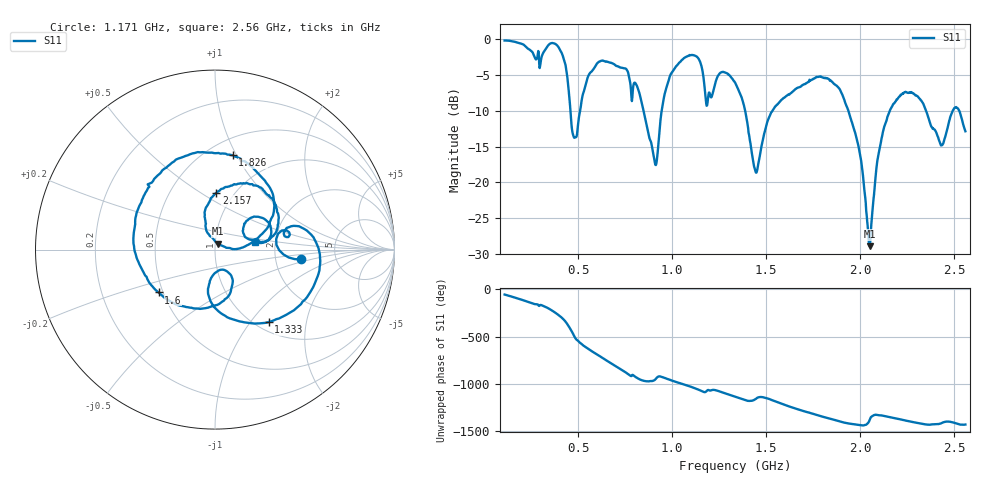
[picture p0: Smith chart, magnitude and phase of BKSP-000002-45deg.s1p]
# MHz S MA R 50
!  freq  S11
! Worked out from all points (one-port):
!   1000 points, 108 MHz to 2.56 GHz, reference 50 ohm
!   lowest |S11| = -28.9 dB at 2.052 GHz (marker M1), VSWR 1.07, Z = 51.3 + j3.39 ohm
!   |S11| at or under -10 dB: 1.388 GHz to 1.533 GHz (144.8 MHz wide, 9.91 % of centre); 1.937 GHz to 2.158 GHz (220.2 MHz wide, 10.8 % of centre); 2.351 GHz to 2.492 GHz (141.6 MHz wide, 5.85 % of centre)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
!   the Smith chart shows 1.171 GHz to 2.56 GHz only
!   S11 on the Smith chart (normalised r, x): 1.171 GHz: 2.80, -0.39; 1.333 GHz: 1.14, -1.23; 1.6 GHz: 0.47, -0.27; 1.826 GHz: 0.66, +0.96; 2.157 GHz: 0.83, +0.58; 2.56 GHz: 1.57, +0.14
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108  0.9821 -56.0
196.3604  0.9332 -109.3
331.3554  0.8758 168.1
380.4444  0.9255 108.6
414.8068  0.7861 54.6
456.5325  0.3417 -56.2
515.4394  0.3551 145.5
569.4374  0.5929 67.7
630.7988  0.7105 -8.5
677.4334  0.6839 -66.2
721.6136  0.639 -119.7
819.7918  0.4435 135.4
910.6066  0.1325 128.6
1028.42  0.6644 95.5
1126.599  0.7621 30.4
1170.779  0.4819 -6.5
1229.686  0.4985 14.2
1332.773  0.5024 -53.5
1335.227  0.4968 -55.1
1445.678  0.117 -77.2
1600.308  0.3947 -142.7
1642.034  0.4321 -170.9
1826.118  0.5343 79.4
1948.841  0.2816 19.1
2051.928  0.03579 67.0
2157.469  0.3157 88.8
2255.648  0.4223 47.5
2560  0.2277 11.1
